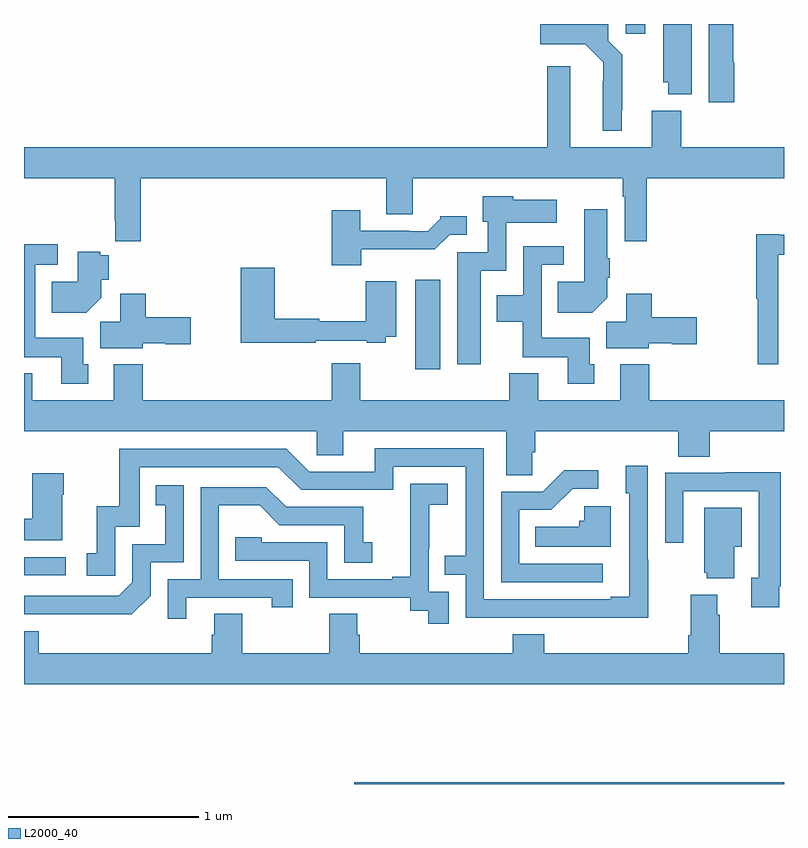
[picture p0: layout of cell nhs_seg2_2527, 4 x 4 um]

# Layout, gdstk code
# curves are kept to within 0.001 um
import gdstk
lib = gdstk.Library(unit=1e-6, precision=1e-09)
def R(c, l, rs):  # rectangles x0, y0, x1, y1
    for r in rs: c.add(gdstk.rectangle(r[:2], r[2:], *l))
def P(c, l, *ps):  # polygons
    for p in ps: c.add(gdstk.Polygon(p, *l))
L2000_40 = (2000, 40)

nhs_seg2_2527 = lib.new_cell('nhs_seg2_2527')
R(nhs_seg2_2527, L2000_40, [(244.739,625.8,247,625.808), (243,626.898,243.22,626.994), (245.06,627.984,245.191,628.453), (246.167,629.748,246.271,629.8)])
P(nhs_seg2_2527, L2000_40, [(246.514,629.8),(246.365,629.8),(246.365,629.493),(246.392,629.493),(246.392,629.429),(246.514,629.429)],
  [(246.145,629.347),(246.149,629.347),(246.149,629.638),(246.075,629.712),(246.075,629.8),(245.718,629.8),(245.718,629.693),(245.955,629.693),(246.048,629.6),(246.047,629.237),(246.145,629.237)],
  [(246.737,629.6),(246.732,629.6),(246.732,629.8),(246.605,629.8),(246.605,629.388),(246.737,629.388)],
  [(243.614,628.988),(244.907,628.988),(244.907,628.798),(245.047,628.798),(245.047,628.988),(246.15,628.988),(246.15,628.892),(246.162,628.892),(246.162,628.656),(246.278,628.656),(246.278,628.988),(247,628.988),(247,629.152),(246.458,629.152),(246.458,629.344),(246.305,629.344),(246.305,629.152),(245.875,629.152),(245.875,629.578),(245.753,629.578),(245.753,629.152),(243,629.152),(243,628.988),(243.478,628.988),(243.478,628.768),(243.479,628.768),(243.479,628.656),(243.614,628.656)],
  [(245.404,628.502),(245.538,628.502),(245.538,628.754),(245.803,628.754),(245.803,628.876),(245.574,628.876),(245.574,628.894),(245.414,628.894),(245.414,628.758),(245.442,628.758),(245.442,628.599),(245.279,628.599),(245.279,628.008),(245.404,628.008)],
  [(246.07,628.358),(246.07,628.465),(246.083,628.465),(246.083,628.568),(246.07,628.568),(246.07,628.825),(245.948,628.825),(245.948,628.444),(245.809,628.444),(245.809,628.28),(245.992,628.28)],
  [(244.774,628.614),(245.163,628.614),(245.241,628.692),(245.329,628.692),(245.329,628.789),(245.19,628.789),(245.19,628.774),(245.126,628.71),(245.027,628.71),(245.027,628.713),(244.771,628.713),(244.771,628.819),(244.619,628.819),(244.619,628.529),(244.774,628.529)],
  [(246.969,628.586),(247,628.586),(247,628.69),(246.976,628.69),(246.976,628.693),(246.853,628.693),(246.853,628.353),(246.861,628.353),(246.861,628.008),(246.969,628.008)],
  [(243.337,628.008),(243.313,628.008),(243.313,628.15),(243.06,628.15),(243.06,628.533),(243.178,628.533),(243.178,628.642),(243,628.642),(243,628.046),(243.197,628.046),(243.197,627.906),(243.337,627.906)],
  [(246.001,628.008),(245.977,628.008),(245.977,628.15),(245.724,628.15),(245.724,628.533),(245.842,628.533),(245.842,628.629),(245.628,628.629),(245.628,628.372),(245.489,628.372),(245.489,628.232),(245.626,628.232),(245.626,628.046),(245.861,628.046),(245.861,627.906),(246.001,627.906)],
  [(243.406,628.358),(243.406,628.454),(243.445,628.454),(243.445,628.582),(243.402,628.582),(243.402,628.602),(243.284,628.602),(243.284,628.444),(243.145,628.444),(243.145,628.28),(243.328,628.28)],
  [(244.535,628.134),(244.805,628.134),(244.805,628.122),(244.905,628.122),(244.905,628.154),(244.96,628.154),(244.96,628.447),(244.798,628.447),(244.798,628.235),(244.554,628.235),(244.554,628.25),(244.32,628.25),(244.32,628.516),(244.142,628.516),(244.142,628.122),(244.535,628.122)],
  [(243.624,628.121),(243.744,628.121),(243.744,628.114),(243.877,628.114),(243.877,628.256),(243.641,628.256),(243.641,628.381),(243.506,628.381),(243.506,628.232),(243.401,628.232),(243.401,628.094),(243.624,628.094)],
  [(246.288,628.121),(246.408,628.121),(246.408,628.114),(246.541,628.114),(246.541,628.256),(246.305,628.256),(246.305,628.381),(246.17,628.381),(246.17,628.232),(246.065,628.232),(246.065,628.094),(246.288,628.094)],
  [(245.676,627.547),(245.69,627.547),(245.69,627.656),(246.443,627.656),(246.443,627.523),(246.608,627.523),(246.608,627.656),(247,627.656),(247,627.82),(246.29,627.82),(246.29,628.009),(246.137,628.009),(246.137,627.82),(245.707,627.82),(245.707,627.961),(245.555,627.961),(245.555,627.82),(244.771,627.82),(244.771,628.015),(244.619,628.015),(244.619,627.82),(243.626,627.82),(243.626,628.009),(243.473,628.009),(243.473,627.82),(243.043,627.82),(243.043,627.961),(243,627.961),(243,627.656),(244.542,627.656),(244.542,627.529),(244.681,627.529),(244.681,627.656),(245.537,627.656),(245.537,627.424),(245.676,627.424)],
  [(246.285,626.981),(246.282,626.981),(246.282,627.475),(246.167,627.475),(246.167,627.33),(246.186,627.33),(246.186,626.785),(246.089,626.785),(246.089,626.772),(245.421,626.772),(245.421,627.567),(244.847,627.567),(244.847,627.444),(244.5,627.444),(244.38,627.564),(243.501,627.564),(243.501,627.262),(243.383,627.262),(243.383,627.015),(243.33,627.015),(243.33,626.895),(243.48,626.895),(243.48,627.153),(243.609,627.153),(243.609,627.468),(244.338,627.468),(244.458,627.348),(244.944,627.348),(244.944,627.471),(245.325,627.471),(245.325,627.002),(245.215,627.002),(245.215,626.901),(245.325,626.901),(245.325,626.676),(246.285,626.675)],
  [(246.046,626.958),(245.607,626.958),(245.607,627.243),(245.776,627.243),(245.887,627.354),(246.022,627.354),(246.022,627.452),(245.843,627.452),(245.73,627.339),(245.511,627.339),(245.511,626.862),(246.046,626.862)],
  [(246.976,626.842),(246.983,626.842),(246.983,627.44),(246.691,627.44),(246.691,627.438),(246.375,627.438),(246.375,627.069),(246.471,627.069),(246.471,627.342),(246.867,627.342),(246.867,626.886),(246.827,626.886),(246.827,626.73),(246.976,626.73)],
  [(243.202,627.323),(243.21,627.323),(243.21,627.436),(243.044,627.436),(243.044,627.197),(243,627.197),(243,627.083),(243.202,627.083)],
  [(245.235,626.811),(245.13,626.811),(245.13,627.041),(245.132,627.041),(245.132,627.269),(245.23,627.269),(245.23,627.379),(245.032,627.379),(245.032,627.173),(245.033,627.173),(245.033,626.89),(244.937,626.89),(244.937,626.877),(244.596,626.877),(244.596,627.072),(244.251,627.072),(244.251,627.099),(244.111,627.099),(244.111,626.976),(244.5,626.976),(244.5,626.781),(245.034,626.781),(245.034,626.713),(245.127,626.713),(245.127,626.643),(245.235,626.643)],
  [(243.666,626.79),(243.666,626.967),(243.84,626.967),(243.84,627.373),(243.694,627.373),(243.694,627.267),(243.743,627.267),(243.743,627.063),(243.57,627.063),(243.57,626.862),(243.498,626.79),(243,626.79),(243,626.694),(243.568,626.693)],
  [(243.853,626.781),(244.304,626.781),(244.304,626.73),(244.415,626.73),(244.415,626.877),(244.026,626.877),(244.026,627.266),(244.24,627.266),(244.344,627.162),(244.686,627.162),(244.686,626.964),(244.834,626.964),(244.834,627.073),(244.785,627.073),(244.785,627.258),(244.381,627.258),(244.276,627.363),(243.93,627.363),(243.93,626.877),(243.756,626.877),(243.756,626.67),(243.853,626.67)],
  [(246.088,627.262),(245.949,627.262),(245.949,627.186),(245.923,627.186),(245.923,627.154),(245.692,627.154),(245.692,627.05),(246.088,627.05)],
  [(246.739,627.05),(246.778,627.05),(246.778,627.253),(246.581,627.253),(246.581,626.913),(246.593,626.913),(246.593,626.882),(246.739,626.882)],
  [(247,626.488),(246.662,626.488),(246.662,626.69),(246.649,626.69),(246.649,626.797),(246.509,626.797),(246.509,626.584),(246.497,626.584),(246.497,626.488),(245.738,626.488),(245.738,626.587),(245.573,626.587),(245.573,626.488),(244.766,626.488),(244.766,626.586),(244.753,626.586),(244.753,626.696),(244.606,626.696),(244.606,626.488),(244.149,626.488),(244.149,626.696),(244.001,626.696),(244.001,626.586),(243.989,626.586),(243.989,626.488),(243.077,626.488),(243.077,626.605),(243,626.605),(243,626.324),(247,626.324)])

lib.write_gds('nhs_seg2_2527.gds')
